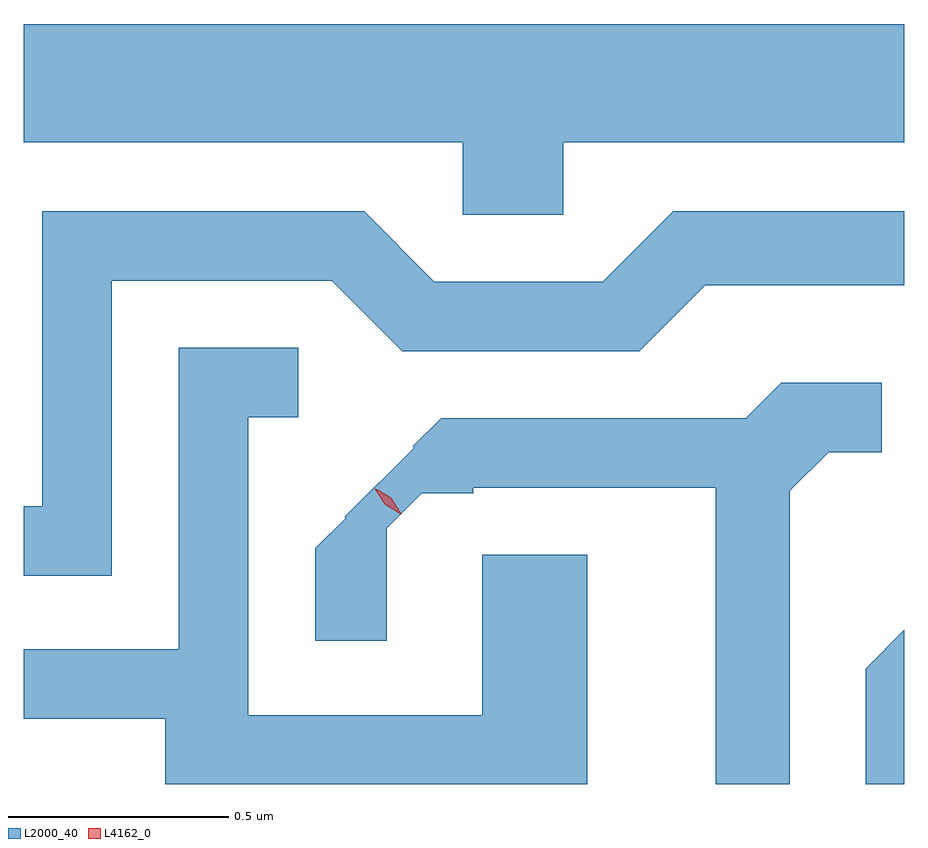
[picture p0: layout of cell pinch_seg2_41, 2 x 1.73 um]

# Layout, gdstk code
import gdstk
lib = gdstk.Library(unit=1e-6, precision=1e-09)
def P(c, l, *ps):  # polygons
    for p in ps: c.add(gdstk.Polygon(p, *l))
L2000_40 = (2000, 40)
L4162_0 = (4162, 0)

pinch_seg2_41 = lib.new_cell('pinch_seg2_41')
P(pinch_seg2_41, L2000_40, [(1224.674,1012.796),(1225.449,1012.796),(1225.449,1013.064),(1223.449,1013.064),(1223.449,1012.796),(1224.446,1012.796),(1224.446,1012.631),(1224.674,1012.631)],
  [(1223.649,1012.481),(1224.149,1012.481),(1224.309,1012.321),(1224.847,1012.321),(1224.997,1012.471),(1225.449,1012.471),(1225.449,1012.639),(1224.924,1012.639),(1224.764,1012.479),(1224.382,1012.479),(1224.222,1012.639),(1223.491,1012.639),(1223.491,1011.969),(1223.449,1011.969),(1223.449,1011.811),(1223.649,1011.811)],
  [(1224.729,1011.859),(1224.491,1011.859),(1224.491,1011.494),(1223.959,1011.494),(1223.959,1012.171),(1224.073,1012.171),(1224.073,1012.329),(1223.801,1012.329),(1223.801,1011.644),(1223.449,1011.644),(1223.449,1011.486),(1223.771,1011.486),(1223.771,1011.338),(1224.729,1011.338)],
  [(1225.189,1012.004),(1225.277,1012.091),(1225.398,1012.091),(1225.398,1012.249),(1225.169,1012.249),(1225.089,1012.169),(1224.397,1012.169),(1224.333,1012.105),(1224.336,1012.102),(1224.178,1011.945),(1224.181,1011.942),(1224.111,1011.873),(1224.111,1011.663),(1224.274,1011.663),(1224.274,1011.919),(1224.353,1011.998),(1224.47,1011.998),(1224.47,1012.011),(1225.021,1012.011),(1225.021,1011.338),(1225.189,1011.338)],
  [(1225.449,1011.688),(1225.361,1011.6),(1225.361,1011.338),(1225.449,1011.338)])
P(pinch_seg2_41, L4162_0, [(1224.305,1011.951),(1224.269,1011.973),(1224.246,1012.008),(1224.246,1012.009),(1224.247,1012.009),(1224.283,1011.987),(1224.306,1011.952),(1224.306,1011.951)],
  [(1224.302,1011.957),(1224.27,1011.974),(1224.252,1012.005),(1224.252,1012.006),(1224.253,1012.006),(1224.284,1011.988),(1224.302,1011.958),(1224.302,1011.957)])

lib.write_gds('pinch_seg2_41.gds')
